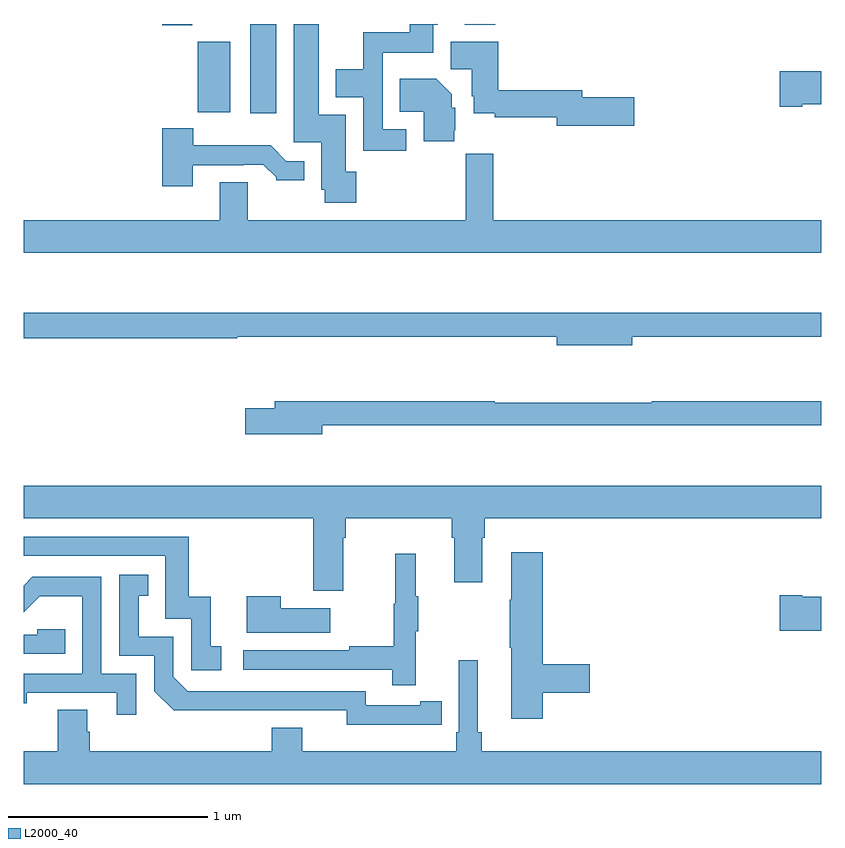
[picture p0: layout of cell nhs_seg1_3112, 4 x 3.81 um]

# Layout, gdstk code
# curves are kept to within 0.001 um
import gdstk
lib = gdstk.Library(unit=1e-6, precision=1e-09)
def R(c, l, rs):  # rectangles x0, y0, x1, y1
    for r in rs: c.add(gdstk.rectangle(r[:2], r[2:], *l))
def P(c, l, *ps):  # polygons
    for p in ps: c.add(gdstk.Polygon(p, *l))
L2000_40 = (2000, 40)

nhs_seg1_3112 = lib.new_cell('nhs_seg1_3112')
R(nhs_seg1_3112, L2000_40, [(280.136,565.752,280.267,566.199), (279.695,566.192,279.845,566.199), (281.213,566.195,281.366,566.199)])
P(nhs_seg1_3112, L2000_40, [(280.918,565.671),(280.8,565.671),(280.8,566.054),(281.053,566.054),(281.053,566.196),(281.077,566.196),(281.077,566.199),(280.937,566.199),(280.937,566.158),(280.702,566.158),(280.702,565.972),(280.565,565.972),(280.565,565.832),(280.704,565.832),(280.704,565.563),(280.918,565.563)],
  [(280.667,565.458),(280.615,565.458),(280.615,565.744),(280.48,565.744),(280.48,566.197),(280.355,566.197),(280.355,565.605),(280.493,565.605),(280.493,565.368),(280.51,565.368),(280.51,565.302),(280.667,565.302)],
  [(282.061,565.832),(281.8,565.832),(281.8,565.868),(281.381,565.868),(281.381,566.11),(281.141,566.11),(281.141,565.972),(281.246,565.972),(281.246,565.836),(281.258,565.836),(281.258,565.751),(281.362,565.751),(281.362,565.732),(281.672,565.732),(281.672,565.69),(282.061,565.69)],
  [(280.036,566.11),(279.872,566.11),(279.872,565.864),(279.874,565.864),(279.874,565.757),(280.036,565.757)],
  [(282.904,565.796),(283,565.796),(283,565.962),(282.792,565.962),(282.792,565.784),(282.904,565.784)],
  [(281.159,565.665),(281.164,565.665),(281.164,565.779),(281.146,565.779),(281.146,565.846),(281.068,565.924),(280.885,565.924),(280.885,565.76),(281.006,565.76),(281.006,565.61),(281.159,565.61)],
  [(279.847,565.491),(280.103,565.491),(280.103,565.494),(280.202,565.494),(280.266,565.43),(280.266,565.415),(280.408,565.415),(280.408,565.512),(280.317,565.512),(280.239,565.591),(279.85,565.591),(279.85,565.675),(279.695,565.675),(279.695,565.386),(279.847,565.386)],
  [(283,565.216),(281.354,565.216),(281.354,565.549),(281.218,565.549),(281.218,565.216),(280.123,565.216),(280.123,565.406),(279.983,565.406),(279.983,565.216),(279,565.216),(279,565.052),(283,565.052)],
  [(282.052,564.63),(283,564.63),(283,564.751),(279,564.751),(279,564.622),(280.071,564.622),(280.071,564.63),(281.672,564.63),(281.672,564.587),(282.052,564.587)],
  [(280.498,564.186),(283,564.186),(283,564.307),(282.15,564.307),(282.15,564.299),(281.363,564.299),(281.363,564.307),(280.259,564.307),(280.259,564.273),(280.11,564.273),(280.11,564.143),(280.498,564.143)],
  [(280.603,563.624),(280.616,563.624),(280.616,563.72),(281.147,563.72),(281.147,563.624),(281.159,563.624),(281.159,563.4),(281.299,563.4),(281.299,563.624),(281.312,563.624),(281.312,563.72),(283,563.72),(283,563.884),(279,563.884),(279,563.72),(280.451,563.72),(280.451,563.358),(280.603,563.358)],
  [(279.991,563.079),(279.938,563.079),(279.938,563.326),(279.827,563.326),(279.827,563.628),(279,563.628),(279,563.532),(279.711,563.532),(279.711,563.217),(279.84,563.217),(279.84,562.959),(279.991,562.959)],
  [(281.603,562.846),(281.839,562.846),(281.839,562.988),(281.603,562.988),(281.603,563.551),(281.444,563.551),(281.444,563.312),(281.437,563.312),(281.437,563.071),(281.444,563.071),(281.444,562.716),(281.603,562.716)],
  [(280.967,563.155),(280.978,563.155),(280.978,563.329),(280.967,563.329),(280.967,563.542),(280.864,563.542),(280.864,563.292),(280.857,563.292),(280.857,563.078),(280.633,563.078),(280.633,563.058),(280.101,563.058),(280.101,562.962),(280.849,562.962),(280.849,562.884),(280.967,562.884)],
  [(280.988,562.686),(281.096,562.686),(281.096,562.802),(280.988,562.802),(280.988,562.782),(280.716,562.782),(280.716,562.854),(279.822,562.854),(279.75,562.926),(279.75,563.127),(279.577,563.127),(279.577,563.331),(279.626,563.331),(279.626,563.437),(279.48,563.437),(279.48,563.031),(279.654,563.031),(279.654,562.854),(279.752,562.757),(280.62,562.758),(280.62,562.685)],
  [(279.564,562.941),(279.39,562.941),(279.39,563.427),(279.044,563.427),(279,563.383),(279,563.25),(279.08,563.33),(279.294,563.33),(279.294,562.941),(279,562.941),(279,562.794),(279.016,562.794),(279.016,562.845),(279.467,562.845),(279.467,562.734),(279.564,562.734)],
  [(283,563.326),(282.904,563.326),(282.904,563.334),(282.792,563.334),(282.792,563.156),(283,563.156)],
  [(280.537,563.269),(280.289,563.269),(280.289,563.329),(280.118,563.329),(280.118,563.147),(280.537,563.147)],
  [(279.209,563.163),(279.069,563.163),(279.069,563.136),(279,563.136),(279,563.04),(279.209,563.04)],
  [(283,562.552),(281.297,562.552),(281.297,562.648),(281.278,562.648),(281.278,563.008),(281.181,563.008),(281.181,562.648),(281.168,562.648),(281.168,562.552),(280.396,562.552),(280.396,562.669),(280.244,562.669),(280.244,562.552),(279.332,562.552),(279.332,562.65),(279.319,562.65),(279.319,562.76),(279.172,562.76),(279.172,562.552),(279,562.552),(279,562.388),(283,562.388)])

lib.write_gds('nhs_seg1_3112.gds')
